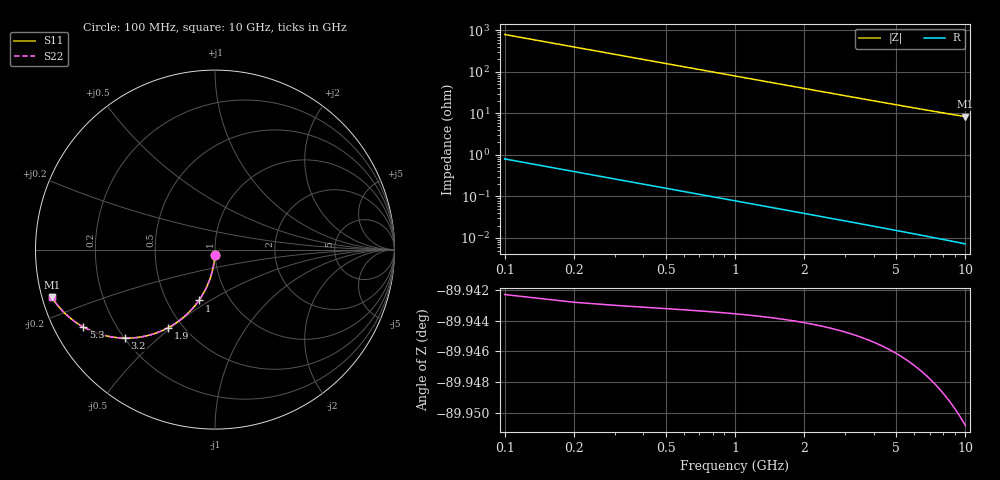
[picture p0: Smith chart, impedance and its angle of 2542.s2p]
# Hz S RI R 50.00
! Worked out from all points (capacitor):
!   100 points, 100 MHz to 10 GHz, reference 50 ohm
!   read as one part in shunt: C = 1.99 pF near 100 MHz
!   lowest |Z| = 8.39 ohm at 10 GHz (marker M1)
!   S11 on the Smith chart (normalised r, x): 100 MHz: 1.00, -0.06; 1 GHz: 0.72, -0.45; 1.9 GHz: 0.42, -0.49; 3.2 GHz: 0.20, -0.40; 5.3 GHz: 0.09, -0.27; 10 GHz: 0.03, -0.14
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1e8  -0.000973 -0.0311  0.999 -0.0315  0.999 -0.0315  -0.000973 -0.0311
2e8  -0.00393 -0.062  0.996 -0.0628  0.996 -0.0628  -0.00393 -0.062
3e8  -0.0088 -0.0925  0.9911 -0.0937  0.9911 -0.0937  -0.0088 -0.0925
4e8  -0.0155 -0.1225  0.9844 -0.1241  0.9844 -0.1241  -0.0155 -0.1225
5e8  -0.024 -0.1518  0.9759 -0.1537  0.9759 -0.1537  -0.024 -0.1518
6e8  -0.0342 -0.1803  0.9657 -0.1826  0.9657 -0.1826  -0.0342 -0.1803
7e8  -0.046 -0.2077  0.9539 -0.2104  0.9539 -0.2104  -0.046 -0.2077
8e8  -0.0592 -0.2341  0.9407 -0.2371  0.9407 -0.2371  -0.0592 -0.2341
1e9  -0.0895 -0.2831  0.9104 -0.2869  0.9104 -0.2869  -0.0895 -0.2831
1.2e9  -0.1239 -0.3267  0.876 -0.3313  0.876 -0.3313  -0.1239 -0.3267
1.4e9  -0.1614 -0.3647  0.8385 -0.3701  0.8385 -0.3701  -0.1614 -0.3647
1.8e9  -0.2412 -0.4239  0.7587 -0.4308  0.7587 -0.4308  -0.2412 -0.4239
1.9e9  -0.2615 -0.4353  0.7384 -0.4426  0.7384 -0.4426  -0.2615 -0.4353
2.5e9  -0.3799 -0.4801  0.62 -0.4897  0.62 -0.4897  -0.3799 -0.4801
3.2e9  -0.5009 -0.4933  0.499 -0.5057  0.499 -0.5057  -0.5009 -0.4933
3.4e9  -0.5311 -0.492  0.4687 -0.5051  0.4687 -0.5051  -0.5311 -0.492
4.2e9  -0.6336 -0.4731  0.3662 -0.4894  0.3662 -0.4894  -0.6336 -0.4731
5.1e9  -0.7185 -0.4392  0.2812 -0.4591  0.2812 -0.4591  -0.7185 -0.4392
5.3e9  -0.7338 -0.431  0.2659 -0.4517  0.2659 -0.4517  -0.7338 -0.431
6.7e9  -0.8155 -0.374  0.1841 -0.4005  0.1841 -0.4005  -0.8155 -0.374
8.4e9  -0.8747 -0.3133  0.1246 -0.347  0.1246 -0.347  -0.8747 -0.3133
1e10  -0.9088 -0.2665  0.0903 -0.307  0.0903 -0.307  -0.9088 -0.2665
